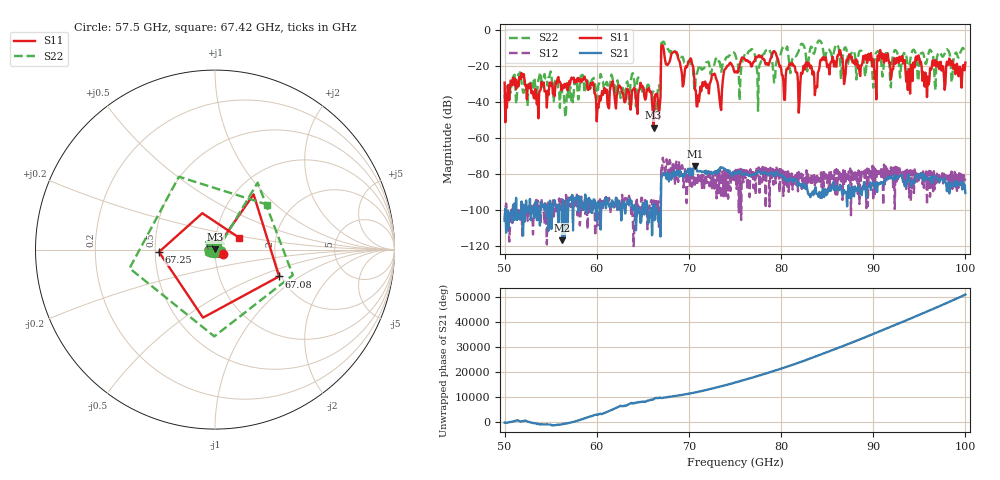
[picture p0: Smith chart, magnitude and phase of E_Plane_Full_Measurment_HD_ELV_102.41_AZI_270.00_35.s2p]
! 11/26/2026 3:33:17 PM
! C:\ANRITSUVNA\TEMP\TEMP.S2P
! CHANNEL.1
! TR.MEASUREMENT
! RAW.DATA
# HZ S RI R 50.0
! FREQ.HZ  S11RE  S11IM  S21RE  S21IM  S12RE  S12IM  S22RE  S22IM
!; PortSelection: Port_12
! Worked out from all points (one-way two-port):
!   601 points, 50 GHz to 100 GHz, reference 50 ohm
!   highest |S21| = -75.25 dB at 70.67 GHz (marker M1); lowest = -116.6 dB at 56.25 GHz (marker M2)
!   lowest |S11| = -54.1 dB at 66.17 GHz (marker M3), VSWR 1.00, Z = 50.1 + j0.142 ohm
!   |S11| at or under -10 dB: start of sweep to 67 GHz; 67.24 GHz to end of sweep
!   |S22| runs from -48.3 to -5.6 dB; largest |S21 - S12| = 0.00034
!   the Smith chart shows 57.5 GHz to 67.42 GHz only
!   S11 on the Smith chart (normalised r, x): 57.5 GHz: 1.09, -0.05; 67.08 GHz: 1.95, -0.69; 67.25 GHz: 0.52, -0.02; 67.42 GHz: 1.29, +0.18
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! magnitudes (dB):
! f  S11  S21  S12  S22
! 50 GHz  -29.0  -105.7  -105.1  -35.8
! 51.67 GHz  -26.3  -105.1  -98.8  -23.3
! 56.25 GHz  -30.4  -116.6  -98.7  -34.3
! 57.5 GHz  -26.2  -92.9  -93.8  -34.6
! 58.42 GHz  -27.2  -97.0  -98.8  -24.7
! 60.17 GHz  -43.1  -95.0  -95.5  -30.4
! 66.17 GHz  -54.1  -96.4  -94.4  -34.0
! 66.67 GHz  -41.5  -106.1  -94.9  -31.6
! 67.08 GHz  -8.2  -80.8  -77.5  -6.8
! 67.25 GHz  -10.1  -79.0  -73.1  -6.2
! 67.42 GHz  -16.5  -79.6  -81.3  -8.3
! 70.17 GHz  -15.5  -76.6  -79.0  -18.5
! 70.67 GHz  -33.0  -75.2  -84.8  -33.0
! 73.42 GHz  -42.4  -76.0  -80.1  -19.8
! 75 GHz  -23.3  -79.8  -82.3  -13.0
! 79.25 GHz  -11.5  -81.1  -77.5  -28.9
! 80.25 GHz  -28.0  -81.5  -91.9  -9.3
! 83.42 GHz  -24.5  -89.6  -84.6  -10.8
! 91.67 GHz  -16.8  -80.9  -76.7  -15.2
! 94.83 GHz  -14.9  -80.8  -79.3  -28.0
! 95.83 GHz  -37.0  -82.3  -96.9  -16.5
! 100 GHz  -17.8  -90.3  -82.3  -12.6
